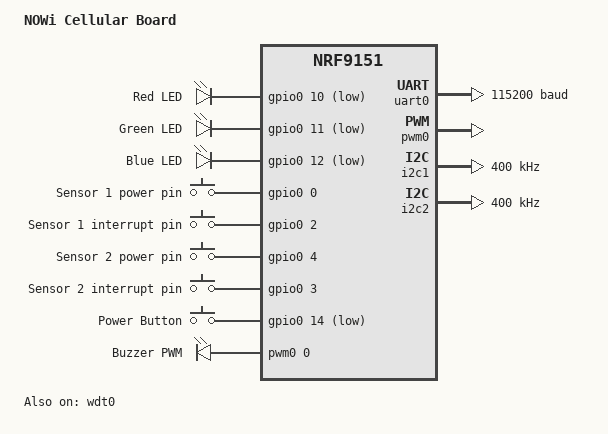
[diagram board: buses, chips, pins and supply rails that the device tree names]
/*
 * Copyright (c) 2019-2022 Actinius
 *
 * SPDX-License-Identifier: Apache-2.0
 */
#include "nowi_cellular_nrf9151_common-pinctrl.dtsi"
#include "nowi_cellular_nrf9151-partitioning.dtsi"

/ {
    model = "NOWi Cellular Board";
    compatible = "nowi,nowi-cellular";

    chosen {
        zephyr,console = &uart0;
        zephyr,shell-uart = &uart0;
        zephyr,uart-mcumgr = &uart0;
        nordic,modem-trace-uart = &uart0;
    };

    leds {
        compatible = "gpio-leds";

        red_led: led_0 {
            gpios = <&gpio0 10 GPIO_ACTIVE_LOW>;
            label = "Red LED";
        };

        green_led: led_1 {
            gpios = <&gpio0 11 GPIO_ACTIVE_LOW>;
            label = "Green LED";
        };

        blue_led: led_2 {
            gpios = <&gpio0 12 GPIO_ACTIVE_LOW>;
            label = "Blue LED";
        };
    };

    aliases {
        successled = &green_led;
		infoled = &blue_led;
		errorled = &red_led;
        watchdog0 = &wdt0;
        power-button = &power_button;
    };

    magnetometer {
		compatible = "gpio-keys";
		magpower: mag_power {
			gpios = <&gpio0 0 (GPIO_ACTIVE_HIGH)>;
			label = "Sensor 1 power pin";
		};
		magint: mag_int {
			gpios = <&gpio0 2 (GPIO_ACTIVE_HIGH)>;
			label = "Sensor 1 interrupt pin";
		};
        mag2power: mag2_power {
			gpios = <&gpio0 4 (GPIO_ACTIVE_HIGH)>;
			label = "Sensor 2 power pin";
		};
		mag2int: mag2_int {
			gpios = <&gpio0 3 (GPIO_ACTIVE_HIGH)>;
			label = "Sensor 2 interrupt pin";
		};
	};

    buttons {
        compatible = "gpio-keys";
        power_button: button_0 {
            gpios = <&gpio0 14 (GPIO_PULL_UP | GPIO_ACTIVE_LOW)>;
            label = "Power Button";
        };
    };
};

&gpiote {
    status = "okay";
};

&gpio0 {
    status = "okay";
};

&wdt0 {
    status = "okay";
};

&uart0 {
    status = "okay";
    current-speed = <115200>;
    pinctrl-0 = <&uart0_default>;
    pinctrl-1 = <&uart0_sleep>;
    pinctrl-names = "default", "sleep";
};

buzz_pwm_inst: &pwm0 {
	status = "okay";
	pinctrl-0 = <&pwm0_buzz_default>;
	pinctrl-1 = <&pwm0_buzz_sleep>;
	pinctrl-names = "default", "sleep";
};

/ {
	pwmleds {
		compatible = "pwm-leds";
		buzzpwm: pwm_led_0 {
			pwms = <&pwm0 0 PWM_MSEC(20) PWM_POLARITY_NORMAL>;
			label = "Buzzer PWM";
		};
	};

	aliases {
		buzzpwm = &buzzpwm;
	};
};

/* CRITICAL FIX: mag1 and mag2 must be labels for the I2C buses, not child devices
 * This matches what we learned from the nrf9151dk overlay migration:
 * - mag1: &i2c1 means "mag1 is an alias for i2c1 bus"
 * - Code uses DT_NODELABEL(mag1) which needs to resolve to the bus device
 */
mag1: &i2c1 {
    compatible = "nordic,nrf-twim";
    status = "okay";
    pinctrl-0 = <&i2c1_default>;
    pinctrl-1 = <&i2c1_sleep>;
    pinctrl-names = "default", "sleep";
    clock-frequency = <I2C_BITRATE_FAST>;
};

mag2: &i2c2 {
    compatible = "nordic,nrf-twim";
    status = "okay";
    pinctrl-0 = <&i2c2_default>;
    pinctrl-1 = <&i2c2_sleep>;
    pinctrl-names = "default", "sleep";
    clock-frequency = <I2C_BITRATE_FAST>;
};
